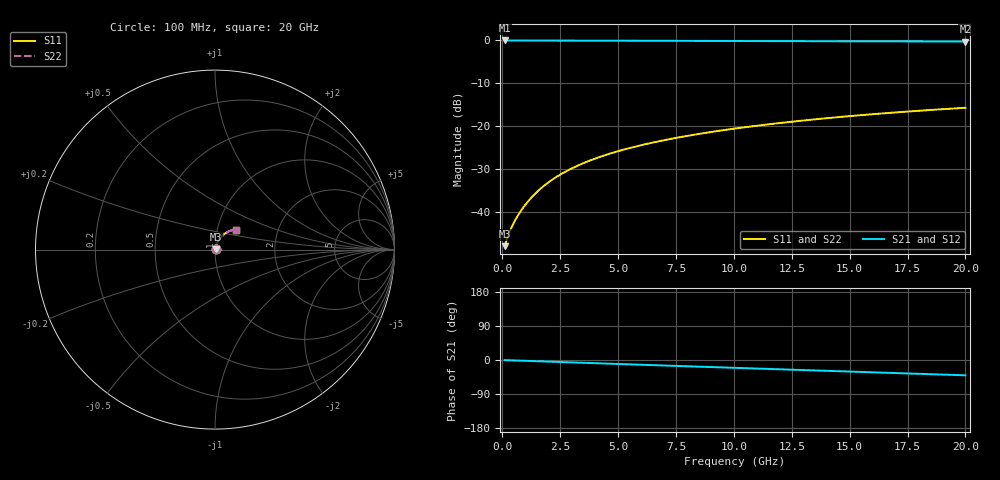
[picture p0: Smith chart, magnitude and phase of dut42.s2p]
! Touchstone file exported from HFSS 2026.1.0
!  File:  C:/ffzhzh/LocalFiles/Ansys_Project_Files/temp_train_TMRDL_42_1782880732_43084.aedt
!  Generated:  12:40:01 PM Jul  1, 2026
!  Design:  TMRDL
!  Project:  temp_train_TMRDL_42_1782880732_43084
! Variables:
!  h_bsmrdl = 2um
!  h_ox = 20um
!  h_rdl = 5um
!  h_sub = 80um
!  h_tmrdl = 4.96um
!  h_tsv = 80um
!  h_via = 3um
!  l_bsmrdl = 300um
!  l_sub = 1114.78um
!  l_tmrdl = 714.78um
!  m_sub = 200um
!  pitch = 22.21um
!  r_tsv = 6um
!  s_tmrdl = 10um
!  w_bsmrdl = 18um
!  w_sub = 500um
!  w_tmrdl = 14.31um
!  x_tsv_center1 = 721.935um
!  x_tsv_center2 = 1039.935um
!  x_tsv_center3 = 1769.025um
!  x_tsv_center4 = 2087.025um
!  x_tsv_center5 = 2816.115um
!  x_tsv_center6 = 3134.115um
# GHz S MA R 50.000000
! Terminal data exported
! Port[1] = TM_RDL1_1_T1
! Port[2] = TM_RDL1_1_T2
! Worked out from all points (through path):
!   200 points, 100 MHz to 20 GHz, reference 50 ohm
!   highest |S21| = -0.03 dB at 100 MHz (marker M1); lowest = -0.3 dB at 20 GHz (marker M2)
!   group delay of S21, straight-line fit = 5.59 ps
!   lowest |S11| = -48.0 dB at 100 MHz (marker M3), VSWR 1.01, Z = 50.4 + j0.143 ohm
!   |S11| at or under -10 dB: start of sweep to end of sweep
!   |S22| runs from -48.0 to -15.7 dB; largest |S21 - S12| = 2.7e-15
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0.1  0.003967 20.9  0.9963 -0.2  0.9963 -0.2  0.003967 20.9
! Gamma 0 0 0 0
! Port Impedance 50 0 50 0
0.3  0.00569 41.8  0.9958 -0.7  0.9958 -0.7  0.00569 41.8
0.4  0.00658 47.3  0.9956 -0.9  0.9956 -0.9  0.00658 47.3
0.6  0.008363 54.9  0.9953 -1.3  0.9953 -1.3  0.008363 54.9
0.9  0.01116 62.0  0.995 -1.9  0.995 -1.9  0.01116 62.0
1.1  0.0131 64.9  0.9949 -2.4  0.9949 -2.4  0.0131 64.9
1.3  0.01507 67.0  0.9947 -2.8  0.9947 -2.8  0.01507 67.0
1.5  0.01707 68.5  0.9945 -3.2  0.9945 -3.2  0.01707 68.5
1.8  0.02009 69.9  0.9942 -3.9  0.9942 -3.9  0.02008 69.9
2.3  0.0251 71.0  0.9936 -4.9  0.9936 -4.9  0.0251 71.0
2.9  0.03105 71.3  0.9928 -6.2  0.9928 -6.2  0.03105 71.3
3.5  0.03688 71.0  0.9919 -7.4  0.9919 -7.4  0.03688 71.0
4.2  0.04351 70.2  0.9908 -8.9  0.9908 -8.9  0.04351 70.2
5  0.05088 69.1  0.9895 -10.5  0.9895 -10.5  0.05088 69.1
5.9  0.05893 67.7  0.9881 -12.4  0.9881 -12.4  0.05892 67.7
6.8  0.06674 66.2  0.9867 -14.2  0.9867 -14.2  0.06674 66.3
8.3  0.07934 63.7  0.9843 -17.2  0.9843 -17.2  0.07933 63.8
10.1  0.09386 60.7  0.9816 -20.8  0.9816 -20.8  0.09384 60.7
11.7  0.1063 57.9  0.9793 -24.0  0.9793 -24.0  0.1063 58.0
13.4  0.119 55.0  0.9769 -27.4  0.9769 -27.4  0.119 55.0
16.7  0.1423 49.1  0.9722 -33.9  0.9722 -33.9  0.1422 49.2
20  0.1634 43.2  0.9675 -40.4  0.9675 -40.4  0.1633 43.3
